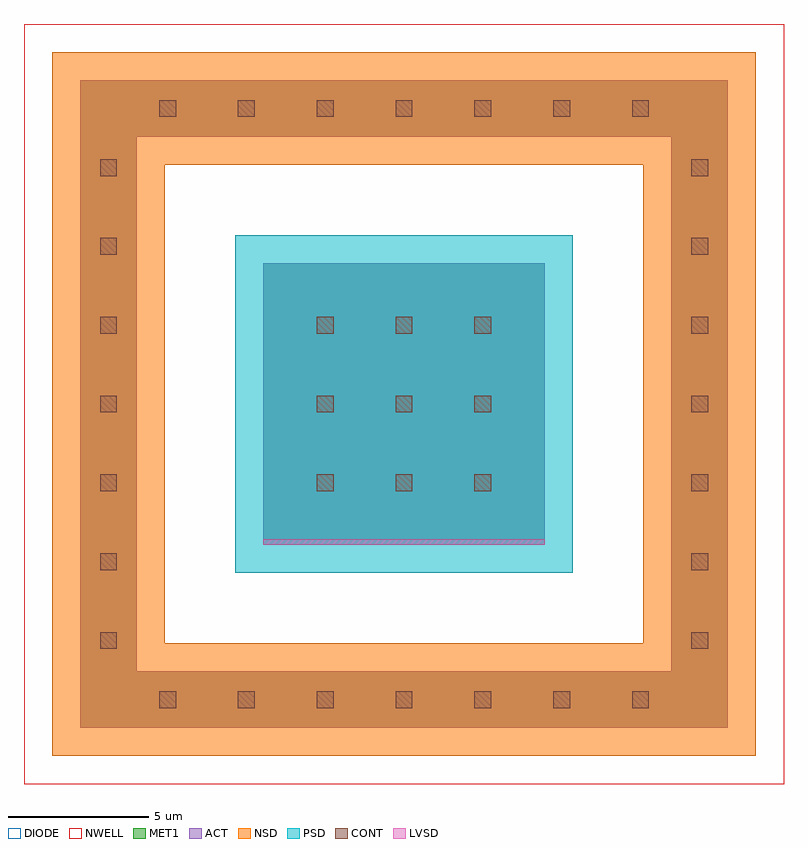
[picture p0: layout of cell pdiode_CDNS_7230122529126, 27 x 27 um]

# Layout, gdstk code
import gdstk
lib = gdstk.Library(unit=1e-6, precision=1e-09)
def R(c, l, rs):  # rectangles x0, y0, x1, y1
    for r in rs: c.add(gdstk.rectangle(r[:2], r[2:], *l))
def A(c, l, x, y, w, h, nx, ny, dx, dy):  # array of equal rectangles
    R(c, l, [(x+i*dx, y+j*dy, x+i*dx+w, y+j*dy+h) for i in range(nx) for j in range(ny)])
NWELL = (2, 0)
ACT = (11, 0)
NSD = (14, 0)
PSD = (15, 0)
CONT = (31, 0)
MET1 = (32, 0)
DIODE = (57, 0)
LVSD = (60, 0)

ptap_cdns_7230122529127 = lib.new_cell('ptap_CDNS_7230122529127')
R(ptap_cdns_7230122529127, ACT, [(0.5,0.5,10.1,10.1)])
A(ptap_cdns_7230122529127, CONT, 2.2, 2.2, 0.6, 0.6, 3, 3, 2.8, 2.8)
R(ptap_cdns_7230122529127, MET1, [(0.4,0.4,10.2,10.2)])

ntap_cdns_7230122529129 = lib.new_cell('ntap_CDNS_7230122529129')
R(ntap_cdns_7230122529129, ACT, [(0.5,0.5,19.3,2.3)])
A(ntap_cdns_7230122529129, CONT, 1.2, 1.1, 0.6, 0.6, 7, 1, 2.8, 0)
R(ntap_cdns_7230122529129, MET1, [(0.4,0.4,19.4,2.4)])

ntap_cdns_723012252911 = lib.new_cell('ntap_CDNS_723012252911')
R(ntap_cdns_723012252911, ACT, [(0.5,0.5,2.3,19.3)])
A(ntap_cdns_723012252911, CONT, 1.1, 1.2, 0.6, 0.6, 1, 7, 0, 2.8)
R(ntap_cdns_723012252911, MET1, [(0.4,0.4,2.4,19.4)])

ntap_ring_pdiode_cdns_72 = lib.new_cell('ntap_ring_pdiode_CDNS_7230122529128')
R(ntap_ring_pdiode_cdns_72, NWELL, [(0,0,27,27)])
R(ntap_ring_pdiode_cdns_72, ACT, [(2,2,4,25), (2,2,25,4), (23,2,25,25), (2,23,25,25)])
R(ntap_ring_pdiode_cdns_72, NSD, [(1,1,5,26), (1,1,26,5), (22,1,26,26), (1,22,26,26)])
R(ntap_ring_pdiode_cdns_72, MET1, [(2,2,4,25), (2,2,25,4), (23,2,25,25), (2,23,25,25)])
ntap_ring_pdiode_cdns_72.add(gdstk.Reference(ntap_cdns_7230122529129, (3.6,1.6)))
ntap_ring_pdiode_cdns_72.add(gdstk.Reference(ntap_cdns_7230122529129, (3.6,22.6)))
ntap_ring_pdiode_cdns_72.add(gdstk.Reference(ntap_cdns_723012252911, (1.6,3.6)))
ntap_ring_pdiode_cdns_72.add(gdstk.Reference(ntap_cdns_723012252911, (22.6,3.6)))

pdiode_cdns_723012252912 = lib.new_cell('pdiode_CDNS_7230122529126')
R(pdiode_cdns_723012252912, ACT, [(8.5,8.5,18.5,18.5)])
R(pdiode_cdns_723012252912, PSD, [(7.5,7.5,19.5,19.5)])
R(pdiode_cdns_723012252912, MET1, [(8.5,8.5,18.5,18.5)])
R(pdiode_cdns_723012252912, DIODE, [(0,0,27,27)])
R(pdiode_cdns_723012252912, LVSD, [(8.5,8.5,18.5,8.7)])
pdiode_cdns_723012252912.add(gdstk.Reference(ptap_cdns_7230122529127, (8.2,8.2)))
pdiode_cdns_723012252912.add(gdstk.Reference(ntap_ring_pdiode_cdns_72, (0,0)))

lib.write_gds('pdiode_CDNS_7230122529126.gds')
